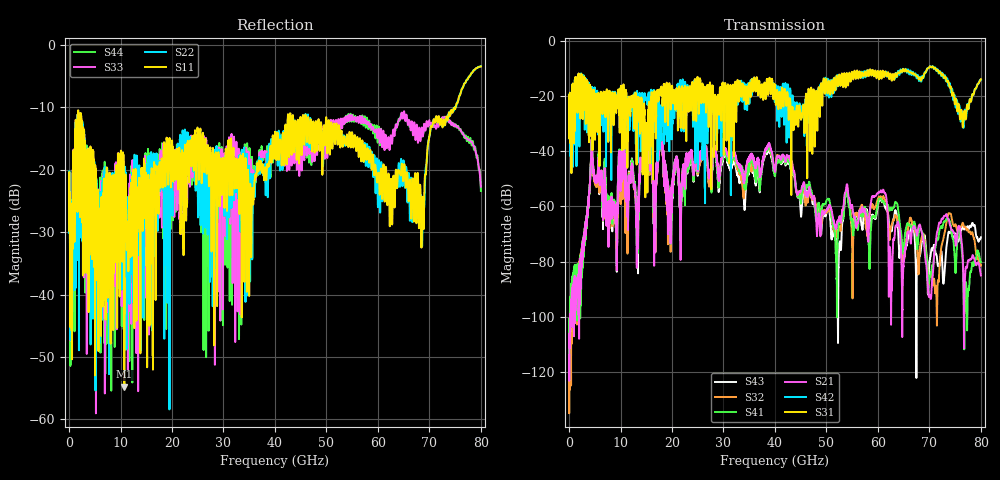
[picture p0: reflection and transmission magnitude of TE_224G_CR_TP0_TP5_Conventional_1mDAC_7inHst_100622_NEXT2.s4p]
!! Reference: tracy_3df_01_2211
!! CHANNEL DESCRIPTION: TP0_TP5 CR Channel using 1meter DAC, Conventional 7.6dB Host
!! MODEL DESCRIPTION: s4p, NEXT2
!! CONNECTOR DESCRIPTION: OSFP 200G SMT
!! CABLE DESCRIPTION: 1meter 26AWG Cable
!! MODEL STATUS: Developmental
!! PORT DEFINITIONS:
!! Port  1  ----->  Side A  Side B  <-----  Port  2
!! Port  3  ----->  Side A  Side B  <-----  Port  4
# Hz S MA R 50
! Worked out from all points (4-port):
!   8000 points, 10 MHz to 80 GHz, reference 50 ohm
!   strongest paths, dB at 10 MHz, 20.01 GHz, 40.01 GHz, 60.01 GHz, 80 GHz:
!     S31: -26.6, -16.2, -17.4, -11.0, -13.9
!     S42: -26.6, -33.6, -21.7, -12.3, -14.0
!     S21: -114.0, -57.7, -47.4, -55.1, -85.0
!     S41: -110.4, -58.1, -48.9, -58.6, -80.2
!     S32: -117.7, -58.1, -46.2, -57.2, -81.2
!     S43: -113.7, -58.2, -47.8, -59.5, -71.2
!   lowest |S11| = -54.8 dB at 10.74 GHz (marker M1), VSWR 1.00, Z = 50.2 + j0.0965 ohm
!   |S11| at or under -10 dB: start of sweep to 75.09 GHz
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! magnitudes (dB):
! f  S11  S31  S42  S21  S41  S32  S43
! 10 MHz  -24.3  -26.6  -26.6  -114.0  -110.4  -117.7  -113.7
! 4.48 GHz  -26.9  -24.9  -20.1  -39.2  -39.3  -39.4  -39.5
! 8.98 GHz  -23.1  -20.4  -19.3  -62.6  -60.2  -65.3  -62.9
! 10.74 GHz  -54.8  -25.2  -30.9  -39.6  -39.6  -41.7  -42.1
! 38.73 GHz  -19.3  -18.3  -15.2  -37.3  -37.9  -38.5  -39.2
! 52.44 GHz  -12.9  -12.3  -13.9  -64.4  -65.0  -67.5  -76.5
! 80 GHz  -3.4  -13.9  -14.0  -85.0  -80.2  -81.2  -71.2
